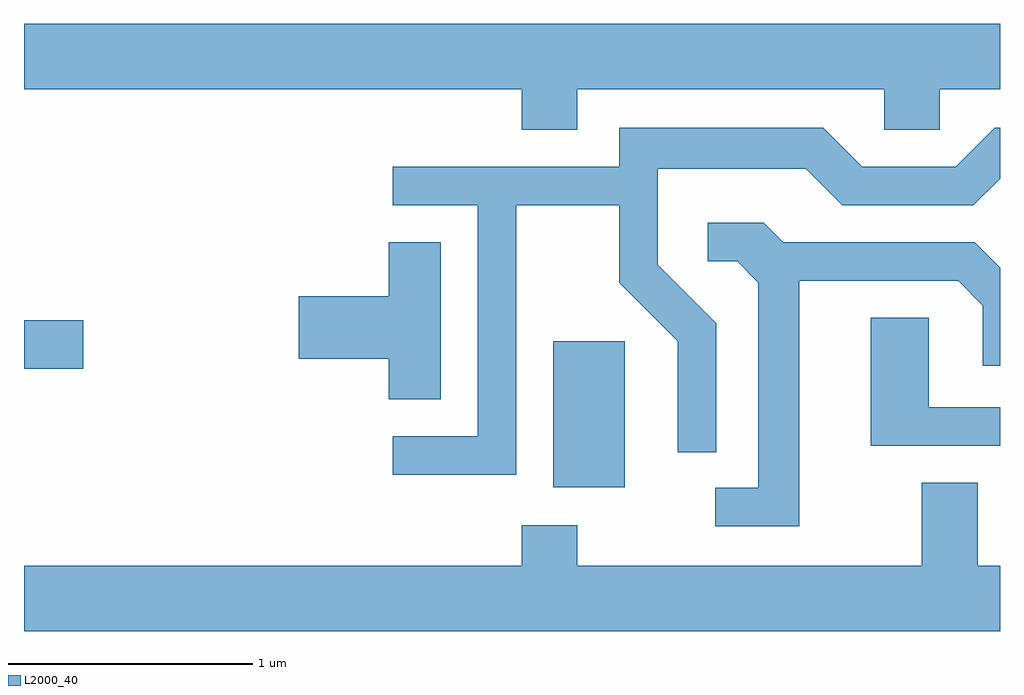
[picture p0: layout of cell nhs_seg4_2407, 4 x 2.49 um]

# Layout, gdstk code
import gdstk
lib = gdstk.Library(unit=1e-6, precision=1e-09)
def R(c, l, rs):  # rectangles x0, y0, x1, y1
    for r in rs: c.add(gdstk.rectangle(r[:2], r[2:], *l))
def P(c, l, *ps):  # polygons
    for p in ps: c.add(gdstk.Polygon(p, *l))
L2000_40 = (2000, 40)

nhs_seg4_2407 = lib.new_cell('nhs_seg4_2407')
R(nhs_seg4_2407, L2000_40, [(257.781,1308.646,258.074,1309.244), (255.611,1309.131,255.854,1309.329)])
P(nhs_seg4_2407, L2000_40, [(257.879,1310.276),(259.136,1310.276),(259.136,1310.111),(259.364,1310.111),(259.364,1310.276),(259.611,1310.276),(259.611,1310.544),(255.611,1310.544),(255.611,1310.276),(257.651,1310.276),(257.651,1310.111),(257.879,1310.111)],
  [(257.629,1309.801),(258.051,1309.801),(258.051,1309.484),(258.291,1309.244),(258.291,1308.788),(258.449,1308.788),(258.449,1309.317),(258.209,1309.557),(258.209,1309.951),(258.814,1309.951),(258.964,1309.801),(259.502,1309.801),(259.611,1309.91),(259.611,1310.119),(259.589,1310.119),(259.429,1309.959),(259.046,1309.959),(258.887,1310.119),(258.051,1310.119),(258.051,1309.959),(257.123,1309.959),(257.123,1309.801),(257.471,1309.801),(257.471,1308.854),(257.123,1308.854),(257.123,1308.696),(257.629,1308.696)],
  [(258.789,1309.491),(259.439,1309.491),(259.541,1309.389),(259.541,1309.143),(259.611,1309.143),(259.611,1309.545),(259.507,1309.649),(258.722,1309.649),(258.642,1309.729),(258.413,1309.729),(258.413,1309.571),(258.534,1309.571),(258.621,1309.484),(258.621,1308.644),(258.443,1308.644),(258.443,1308.486),(258.789,1308.486)],
  [(257.319,1309.649),(257.106,1309.649),(257.106,1309.429),(256.736,1309.429),(256.736,1309.171),(257.106,1309.171),(257.106,1309.006),(257.319,1309.006)],
  [(259.611,1308.974),(259.319,1308.974),(259.319,1309.339),(259.081,1309.339),(259.081,1308.816),(259.611,1308.816)],
  [(259.611,1308.324),(259.519,1308.324),(259.519,1308.664),(259.291,1308.664),(259.291,1308.324),(257.879,1308.324),(257.879,1308.489),(257.651,1308.489),(257.651,1308.324),(255.611,1308.324),(255.611,1308.056),(259.611,1308.056)])

lib.write_gds('nhs_seg4_2407.gds')
